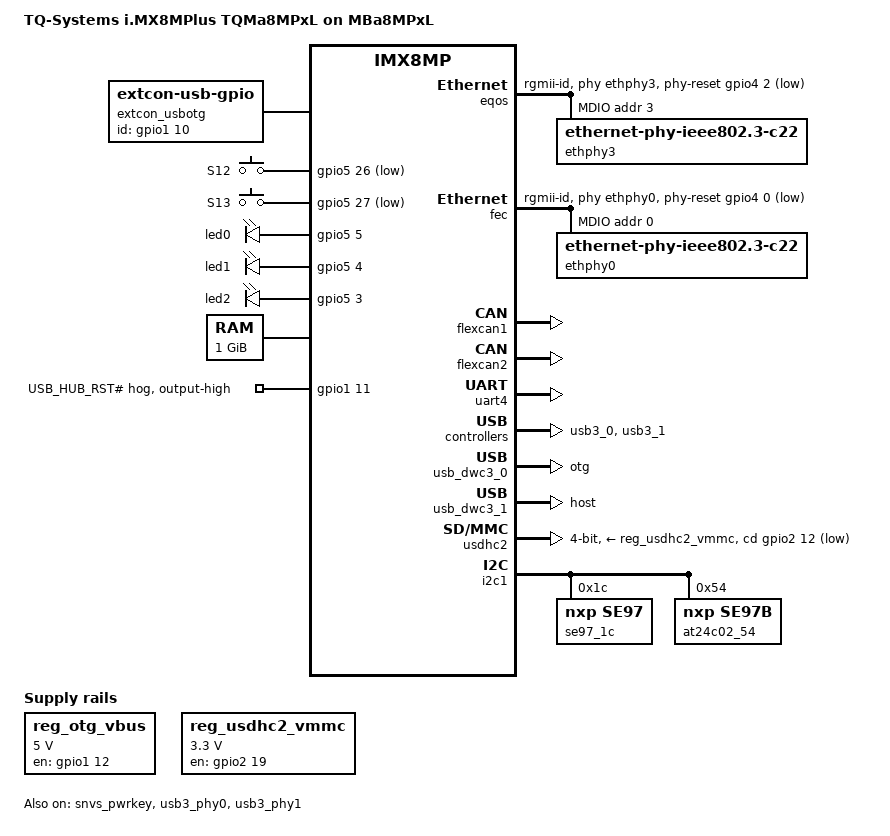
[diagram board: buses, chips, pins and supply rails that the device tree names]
// SPDX-License-Identifier: GPL-2.0-or-later OR MIT
/*
 * Copyright 2021 TQ-Systems GmbH
 */

/dts-v1/;

#include <dt-bindings/net/ti-dp83867.h>

#include "imx8mp-tqma8mpxl.dtsi"

/ {
	model = "TQ-Systems i.MX8MPlus TQMa8MPxL on MBa8MPxL";
	compatible = "tq,imx8mp-mba8mpxl", "tq,imx8mp-tqma8mpxl", "fsl,imx8mp";

	aliases {
		mmc0 = &usdhc3;
		mmc1 = &usdhc2;
		mmc2 = &usdhc1;
		rtc1 = &snvs_rtc;
		rtc0 = &pcf85063;
	};

	chosen {
		bootargs = "console=ttymxc3,115200 earlycon=ec_imx6q,30a60000,115200";
		stdout-path = &uart4;
	};

	extcon_usbotg: extcon-usbotg0 {
		compatible = "linux,extcon-usb-gpio";
		pinctrl-names = "default";
		pinctrl-0 = <&pinctrl_usbcon0>;
		id-gpio = <&gpio1 10 GPIO_ACTIVE_HIGH>;
	};

	gpio-keys {
		compatible = "gpio-keys";
		pinctrl-names = "default";
		pinctrl-0 = <&pinctrl_gpiobutton>;
		autorepeat;

		switch1 {
			label = "S12";
			linux,code = <BTN_0>;
			gpios = <&gpio5 26 GPIO_ACTIVE_LOW>;
			wakeup-source;
		};

		switch2 {
			label = "S13";
			linux,code = <BTN_1>;
			gpios = <&gpio5 27 GPIO_ACTIVE_LOW>;
			wakeup-source;
		};
	};

	gpio-leds {
		compatible = "gpio-leds";
		pinctrl-names = "default";
		pinctrl-0 = <&pinctrl_gpioled>;

		led0 {
			label = "led0";
			gpios = <&gpio5 5 GPIO_ACTIVE_HIGH>;
			linux,default-trigger = "default-on";
		};

		led1 {
			label = "led1";
			gpios = <&gpio5 4 GPIO_ACTIVE_HIGH>;
			linux,default-trigger = "heartbeat";
		};

		led2 {
			label = "led2";
			gpios = <&gpio5 3 GPIO_ACTIVE_HIGH>;
		};
	};

	memory@40000000 {
		device_type = "memory";
		reg = <0x0 0x40000000 0 0x40000000>;
	};

	resmem: reserved-memory {
		#address-cells = <2>;
		#size-cells = <2>;
		ranges;

		ocram: ocram@900000 {
			no-map;
			reg = <0 0x900000 0 0x70000>;
		};

/*
 *		Memory reserved for optee usage. Please do not use.
 *		This will be automaticky added to dtb if OP-TEE is installed.
 *		optee@56000000 {
 *			reg = <0 0x56000000 0 0x2000000>;
 *			no-map;
 *		};
 */
		/* global autoconfigured region for contiguous allocations */
		linux,cma {
			compatible = "shared-dma-pool";
			reusable;
			size = <0 0x38000000>;
			alloc-ranges = <0 0x40000000 0 0xB0000000>;
			linux,cma-default;
		};

		dsp_reserved: dsp@92400000 {
			no-map;
			reg = <0 0x92400000 0 0x2000000>;
		};
	};

	reg_otg_vbus: regulator-otg-vbus {
		compatible = "regulator-fixed";
		pinctrl-names = "default";
		pinctrl-0 = <&pinctrl_regotgvbus>;
		regulator-name = "OTG_VBUS";
		regulator-min-microvolt = <5000000>;
		regulator-max-microvolt = <5000000>;
		gpio = <&gpio1 12 GPIO_ACTIVE_HIGH>;
		enable-active-high;
	};

	reg_usdhc2_vmmc: regulator-usdhc2 {
		compatible = "regulator-fixed";
		pinctrl-names = "default";
		pinctrl-0 = <&pinctrl_reg_usdhc2_vmmc>;
		regulator-name = "VSD_3V3";
		regulator-min-microvolt = <3300000>;
		regulator-max-microvolt = <3300000>;
		gpio = <&gpio2 19 GPIO_ACTIVE_HIGH>;
		enable-active-high;
		startup-delay-us = <100>;
		off-on-delay-us = <12000>;
	};
};

&eqos {
	pinctrl-names = "default";
	pinctrl-0 = <&pinctrl_eqos>;
	phy-mode = "rgmii-id";
	phy-handle = <&ethphy3>;
	phy-reset-gpios = <&gpio4 2 GPIO_ACTIVE_LOW>;
	phy-reset-duration = <500>;
	phy-reset-post-delay = <50>;
	snps,reset-gpios = <&gpio4 2 GPIO_ACTIVE_LOW>;
	snps,reset-active-low;
	snps,reset-delays-us = <0 500000 50000>;

	status = "okay";

	mdio {
		compatible = "snps,dwmac-mdio";
		#address-cells = <1>;
		#size-cells = <0>;

		ethphy3: ethernet-phy@3 {
			compatible = "ethernet-phy-ieee802.3-c22";
			reg = <3>;
			ti,rx-internal-delay = <DP83867_RGMIIDCTL_2_25_NS>;
			ti,tx-internal-delay = <DP83867_RGMIIDCTL_2_25_NS>;
			ti,fifo-depth = <DP83867_PHYCR_FIFO_DEPTH_4_B_NIB>;
			ti,dp83867-rxctrl-strap-quirk;
			ti,clk-output-sel = <DP83867_CLK_O_SEL_OFF>;
			enet-phy-lane-no-swap;
			/* LED0: Link, LED2: activity */
			ti,led-function = <0x0100>;
			/* LED0/2: active High, driven by phy function */
			ti,led-ctrl = <0x1414>;
		};
	};
};

&fec {
	pinctrl-names = "default";
	pinctrl-0 = <&pinctrl_fec>;
	phy-mode = "rgmii-id";
	phy-handle = <&ethphy0>;
	phy-reset-gpios = <&gpio4 0 GPIO_ACTIVE_LOW>;
	phy-reset-duration = <500>;
	phy-reset-post-delay = <50>;
	fsl,magic-packet;
	status = "okay";

	mdio {
		#address-cells = <1>;
		#size-cells = <0>;

		ethphy0: ethernet-phy@0 {
			compatible = "ethernet-phy-ieee802.3-c22";
			reg = <0>;
			ti,rx-internal-delay = <DP83867_RGMIIDCTL_2_25_NS>;
			ti,tx-internal-delay = <DP83867_RGMIIDCTL_2_25_NS>;
			ti,fifo-depth = <DP83867_PHYCR_FIFO_DEPTH_4_B_NIB>;
			ti,dp83867-rxctrl-strap-quirk;
			ti,clk-output-sel = <DP83867_CLK_O_SEL_OFF>;
			enet-phy-lane-no-swap;
			/* LED0: Link, LED2: activity */
			ti,led-function = <0x0100>;
			/* LED0/2: active High, driven by phy function */
			ti,led-ctrl = <0x1414>;
		};
	};
};

&flexcan1 {
	pinctrl-names = "default";
	pinctrl-0 = <&pinctrl_flexcan1>;
	status = "okay";
};

&flexcan2 {
	pinctrl-names = "default";
	pinctrl-0 = <&pinctrl_flexcan2>;
	status = "okay";
};

&gpio1 {
	pinctrl-names = "default";
	pinctrl-0 = <&pinctrl_gpio1>, <&pinctrl_usbhub>;

	gpio-line-names = "GPO0", "GPO1", "", "GPO2",
			  "", "", "GPO3", "GPI0",
			  "", "GPI1", "OTG_ID", "USB_HUB_RST#",
			  "OTG_PWR", "", "GPI2", "GPI3",
			  "", "", "", "",
			  "", "", "", "",
			  "", "", "", "",
			  "", "", "", "";

	usb-hub-reset {
		gpio-hog;
		gpios = <11 0>;
		output-high;
		line-name = "USB_HUB_RST#";
	};
};

&gpio5 {
	gpio-line-names = "", "", "", "LED2",
			  "LED1", "LED0", "", "",
			  "", "", "", "",
			  "", "", "", "",
			  "", "", "", "",
			  "", "", "", "",
			  "", "", "SWITCH_A", "SWITCH_B",
			  "", "", "", "";
};

&snvs_pwrkey {
	status = "okay";
};

&uart4 {
	/* console */
	pinctrl-names = "default";
	pinctrl-0 = <&pinctrl_uart4>;
	status = "okay";
};

&usb3_phy0 {
	pinctrl-names = "default";
	pinctrl-0 = <&pinctrl_usb0>;
	/*
	 * OC support needs special settings for low active polarity
	 */
	oc_low_active;
	vbus-supply = <&reg_otg_vbus>;
	status = "okay";
};

&usb3_0 {
	status = "okay";
};

&usb_dwc3_0 {
	/*
	 * use extcon gpio OTG ID detection. Older versions of driver does not
	 * support OTG ID signal. Unclear which difference is between muxable
	 * and non muxable pin for ID
	 */
	extcon = <&extcon_usbotg>;
	/* we implement dual role but not full featured OTG */
	hnp-disable;
	srp-disable;
	adp-disable;
	dr_mode = "otg";
	status = "okay";
};

&usb3_phy1 {
	disable-ppc;
	permanent_attached;
	status = "okay";
};

&usb3_1 {
	status = "okay";
};

&usb_dwc3_1 {
	dr_mode = "host";
	status = "okay";
};

&usdhc2 {
	pinctrl-names = "default", "state_100mhz", "state_200mhz";
	pinctrl-0 = <&pinctrl_usdhc2>, <&pinctrl_usdhc2_gpio>;
	pinctrl-1 = <&pinctrl_usdhc2_100mhz>, <&pinctrl_usdhc2_gpio>;
	pinctrl-2 = <&pinctrl_usdhc2_200mhz>, <&pinctrl_usdhc2_gpio>;
	cd-gpios = <&gpio2 12 GPIO_ACTIVE_LOW>;
	vmmc-supply = <&reg_usdhc2_vmmc>;
	no-mmc;
	no-sdio;
	bus-width = <4>;
	status = "okay";
};

&i2c1 {
	/* NXP SE97BTP with temperature sensor + eeprom */
	se97_1c: temperature-sensor-eeprom@1c {
		compatible = "nxp,se97", "jedec,jc-42.4-temp";
		reg = <0x1c>;
	};

	at24c02_54: eeprom@54 {
		compatible = "nxp,se97b", "atmel,24c02";
		reg = <0x54>;
		pagesize = <16>;
	};
};

&iomuxc {
	pinctrl_flexcan1: flexcan1grp {
		fsl,pins = <
			MX8MP_IOMUXC_SAI5_RXD1__CAN1_TX	0x150
			MX8MP_IOMUXC_SAI5_RXD2__CAN1_RX	0x150
		>;
	};

	pinctrl_flexcan2: flexcan2grp {
		fsl,pins = <
			MX8MP_IOMUXC_SAI5_RXD3__CAN2_TX	0x150
			MX8MP_IOMUXC_SAI5_MCLK__CAN2_RX	0x150
		>;
	};

	pinctrl_eqos: eqosgrp {
		fsl,pins = <
			/* SION + ODE + DSE_X2 */
			MX8MP_IOMUXC_ENET_MDC__ENET_QOS_MDC		0x40000044
			MX8MP_IOMUXC_ENET_MDIO__ENET_QOS_MDIO		0x40000044
			MX8MP_IOMUXC_ENET_RD0__ENET_QOS_RGMII_RD0	0x91
			MX8MP_IOMUXC_ENET_RD1__ENET_QOS_RGMII_RD1	0x91
			MX8MP_IOMUXC_ENET_RD2__ENET_QOS_RGMII_RD2	0x91
			MX8MP_IOMUXC_ENET_RD3__ENET_QOS_RGMII_RD3	0x91
			MX8MP_IOMUXC_ENET_RXC__CCM_ENET_QOS_CLOCK_GENERATE_RX_CLK	0x91
			MX8MP_IOMUXC_ENET_RX_CTL__ENET_QOS_RGMII_RX_CTL	0x91
			MX8MP_IOMUXC_ENET_TD0__ENET_QOS_RGMII_TD0	0x1f
			MX8MP_IOMUXC_ENET_TD1__ENET_QOS_RGMII_TD1	0x1f
			MX8MP_IOMUXC_ENET_TD2__ENET_QOS_RGMII_TD2	0x1f
			MX8MP_IOMUXC_ENET_TD3__ENET_QOS_RGMII_TD3	0x1f
			MX8MP_IOMUXC_ENET_TX_CTL__ENET_QOS_RGMII_TX_CTL	0x1f
			MX8MP_IOMUXC_ENET_TXC__CCM_ENET_QOS_CLOCK_GENERATE_TX_CLK	0x1f
			/* EVENT1_IN / RST# -> PE */
			MX8MP_IOMUXC_SAI1_RXD0__GPIO4_IO02		0x100
			/* EVENT1_OUT / INT/PD -> PE + HYS + PUE */
			MX8MP_IOMUXC_SAI1_RXD1__GPIO4_IO03		0x1c0
		>;
	};

	pinctrl_fec: fecgrp {
		fsl,pins = <
			/* SION + ODE + DSE_X2 */
			MX8MP_IOMUXC_SAI1_RXD2__ENET1_MDC		0x40000044
			MX8MP_IOMUXC_SAI1_RXD3__ENET1_MDIO		0x40000044
			MX8MP_IOMUXC_SAI1_RXD4__ENET1_RGMII_RD0		0x91
			MX8MP_IOMUXC_SAI1_RXD5__ENET1_RGMII_RD1		0x91
			MX8MP_IOMUXC_SAI1_RXD6__ENET1_RGMII_RD2		0x91
			MX8MP_IOMUXC_SAI1_RXD7__ENET1_RGMII_RD3		0x91
			MX8MP_IOMUXC_SAI1_TXC__ENET1_RGMII_RXC		0x91
			MX8MP_IOMUXC_SAI1_TXFS__ENET1_RGMII_RX_CTL	0x91
			MX8MP_IOMUXC_SAI1_TXD0__ENET1_RGMII_TD0		0x1f
			MX8MP_IOMUXC_SAI1_TXD1__ENET1_RGMII_TD1		0x1f
			MX8MP_IOMUXC_SAI1_TXD2__ENET1_RGMII_TD2		0x1f
			MX8MP_IOMUXC_SAI1_TXD3__ENET1_RGMII_TD3		0x1f
			MX8MP_IOMUXC_SAI1_TXD4__ENET1_RGMII_TX_CTL	0x1f
			MX8MP_IOMUXC_SAI1_TXD5__ENET1_RGMII_TXC		0x1f
			/* EVENT0_IN / RST# -> PE */
			MX8MP_IOMUXC_SAI1_RXFS__GPIO4_IO00		0x100
			/* EVENT0_OUT / INT/PD -> PE + HYS + PUE */
			MX8MP_IOMUXC_SAI1_RXC__GPIO4_IO01		0x1c0
		>;
	};

	pinctrl_gpiobutton: gpiobuttongrp {
		fsl,pins = <
			MX8MP_IOMUXC_UART3_RXD__GPIO5_IO26	0x180
			MX8MP_IOMUXC_UART3_TXD__GPIO5_IO27	0x180
		>;
	};

	pinctrl_gpioled: gpioledgrp {
		fsl,pins = <
			MX8MP_IOMUXC_SPDIF_EXT_CLK__GPIO5_IO05	0x100
			MX8MP_IOMUXC_SPDIF_RX__GPIO5_IO04	0x100
			MX8MP_IOMUXC_SPDIF_TX__GPIO5_IO03	0x100
		>;
	};

	pinctrl_gpio1: gpio1grp {
		fsl,pins = <
			MX8MP_IOMUXC_GPIO1_IO00__GPIO1_IO00	0x100
			MX8MP_IOMUXC_GPIO1_IO01__GPIO1_IO01	0x100
			MX8MP_IOMUXC_GPIO1_IO03__GPIO1_IO03	0x100
			MX8MP_IOMUXC_GPIO1_IO06__GPIO1_IO06	0x100
			MX8MP_IOMUXC_GPIO1_IO07__GPIO1_IO07	0x180
			MX8MP_IOMUXC_GPIO1_IO09__GPIO1_IO09	0x180
			MX8MP_IOMUXC_GPIO1_IO14__GPIO1_IO14	0x180
			MX8MP_IOMUXC_GPIO1_IO15__GPIO1_IO15	0x180
		>;
	};

	pinctrl_regotgvbus: reggotgvbusgrp {
		fsl,pins = <
			/* USB1 OTG PWR as GPIO */
			MX8MP_IOMUXC_GPIO1_IO12__GPIO1_IO12	0x100
		>;
	};

	pinctrl_uart4: uart4grp {
		fsl,pins = <
			MX8MP_IOMUXC_UART4_RXD__UART4_DCE_RX	0x140
			MX8MP_IOMUXC_UART4_TXD__UART4_DCE_TX	0x140
		>;
	};

	pinctrl_usbcon0: usb0congrp {
		fsl,pins = <
			/* ID: floating / high: device, low: host -> use PU */
			MX8MP_IOMUXC_GPIO1_IO10__GPIO1_IO10	0x1c0
		>;
	};

	pinctrl_usb0: usb0grp {
		fsl,pins = <
			/* ID -> via extcon, missing OTG IRQ handling */
			/* PWR -> via regulator @phy */
			/*
			 * TODO: OC detection not functional in dwc3 on i.mx8mq,
			 * pin mux will lead to non functional USB
			 */
			MX8MP_IOMUXC_GPIO1_IO13__USB1_OC	0x1C0
		>;
	};

	pinctrl_usbhub: usbhubgrp {
		fsl,pins = <
			MX8MP_IOMUXC_GPIO1_IO11__GPIO1_IO11	0xc0
		>;
	};

	pinctrl_usdhc2: usdhc2grp {
		fsl,pins = <
			MX8MP_IOMUXC_SD2_CLK__USDHC2_CLK	0x190
			MX8MP_IOMUXC_SD2_CMD__USDHC2_CMD	0x1d0
			MX8MP_IOMUXC_SD2_DATA0__USDHC2_DATA0	0x1d0
			MX8MP_IOMUXC_SD2_DATA1__USDHC2_DATA1	0x1d0
			MX8MP_IOMUXC_SD2_DATA2__USDHC2_DATA2	0x1d0
			MX8MP_IOMUXC_SD2_DATA3__USDHC2_DATA3	0x1d0
			MX8MP_IOMUXC_GPIO1_IO04__USDHC2_VSELECT	0xc0
		>;
	};

	pinctrl_usdhc2_100mhz: usdhc2grp-100mhz {
		fsl,pins = <
			MX8MP_IOMUXC_SD2_CLK__USDHC2_CLK	0x194
			MX8MP_IOMUXC_SD2_CMD__USDHC2_CMD	0x1d4
			MX8MP_IOMUXC_SD2_DATA0__USDHC2_DATA0	0x1d4
			MX8MP_IOMUXC_SD2_DATA1__USDHC2_DATA1	0x1d4
			MX8MP_IOMUXC_SD2_DATA2__USDHC2_DATA2	0x1d4
			MX8MP_IOMUXC_SD2_DATA3__USDHC2_DATA3	0x1d4
			MX8MP_IOMUXC_GPIO1_IO04__USDHC2_VSELECT 0xc0
		>;
	};

	pinctrl_usdhc2_200mhz: usdhc2grp-200mhz {
		fsl,pins = <
			MX8MP_IOMUXC_SD2_CLK__USDHC2_CLK	0x196
			MX8MP_IOMUXC_SD2_CMD__USDHC2_CMD	0x1d6
			MX8MP_IOMUXC_SD2_DATA0__USDHC2_DATA0	0x1d6
			MX8MP_IOMUXC_SD2_DATA1__USDHC2_DATA1	0x1d6
			MX8MP_IOMUXC_SD2_DATA2__USDHC2_DATA2	0x1d6
			MX8MP_IOMUXC_SD2_DATA3__USDHC2_DATA3	0x1d6
			MX8MP_IOMUXC_GPIO1_IO04__USDHC2_VSELECT 0xc0
		>;
	};

	pinctrl_usdhc2_gpio: usdhc2grp-gpio {
		fsl,pins = <
			MX8MP_IOMUXC_SD2_CD_B__GPIO2_IO12	0x1c0
		>;
	};
};
